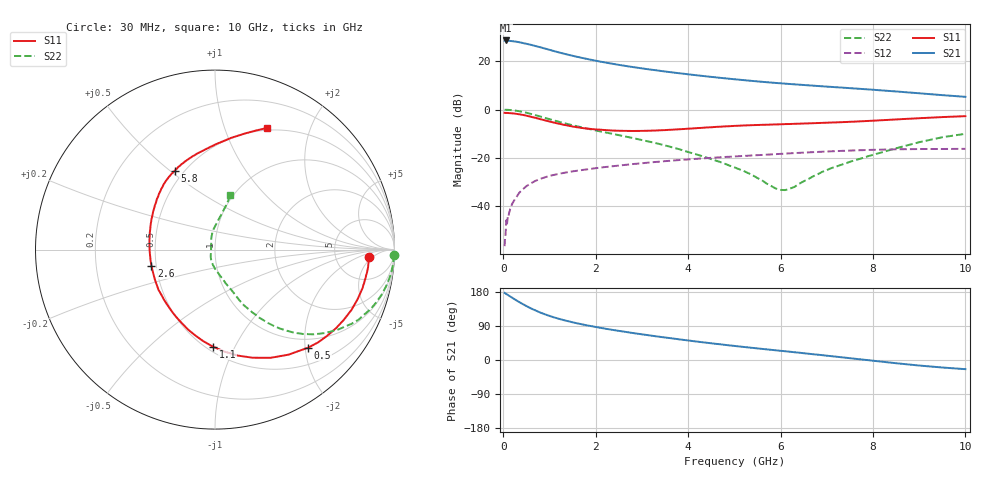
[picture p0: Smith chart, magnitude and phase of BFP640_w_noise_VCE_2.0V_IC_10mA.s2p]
! Infineon Technologies  Discrete & RF Semiconductors
! BFP640
! VCE =  2.0 V,  IC =  10 mA
! Common Emitter S-Parameters:  Apr 2013
# GHz  S  MA  R  50
!  f  S11  S21  S12  S22
! GHz  MAG  ANG  MAG  ANG  MAG  ANG  MAG  ANG
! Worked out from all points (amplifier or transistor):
!   99 points, 30 MHz to 10 GHz, reference 50 ohm
!   highest |S21| = 28.7 dB at 60 MHz (marker M1)
!   |S21| within 3 dB of that: start of sweep to 836.8 MHz
!   unconditionally stable (mu >= 1): 3.836 GHz to end of sweep
!   at 350 MHz: K = 0.15, MSG = 31.1 dB, |S12| = -34.3 dB
!   at 3.5 GHz: K = 0.97, MSG = 18.6 dB, |S12| = -21.3 dB
!   at 10 GHz: K = 1.10, MAG = 8.9 dB, |S12| = -16.2 dB
!   lowest NFmin = 0.64 dB at 450 MHz
!   S11 on the Smith chart (normalised r, x): 30 MHz: 12, -4; 500 MHz: 0.82, -2.07; 1.1 GHz: 0.54, -0.82; 2.6 GHz: 0.47, -0.10; 5.8 GHz: 0.45, +0.52; 10 GHz: 0.47, +1.40
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0.03  0.8611 -2.9  26.86 177.0  0.0015 83.9  0.9957 -1.7
0.06  0.8582 -5.7  27.12 174.6  0.0041 81.7  0.9961 -3.6
0.09  0.8564 -8.6  26.75 172.4  0.0051 83.7  0.9949 -5.4
0.12  0.8516 -11.7  26.84 170.0  0.0067 84.0  0.9902 -7.3
0.3  0.8171 -28.7  25.42 156.2  0.0163 77.0  0.9459 -18.0
0.4  0.7873 -37.8  24.38 149.0  0.0214 72.5  0.9078 -23.4
0.5  0.7538 -46.4  23.18 142.5  0.0261 68.1  0.866 -28.5
0.6  0.7145 -55.0  22.04 136.2  0.0301 64.8  0.818 -33.0
0.8  0.638 -70.8  19.64 125.3  0.0371 58.8  0.7253 -40.6
1  0.5707 -84.7  17.37 116.4  0.0428 54.0  0.6379 -46.5
1.1  0.5407 -91.2  16.35 112.4  0.0448 52.1  0.5983 -48.8
1.4  0.4697 -108.7  13.75 102.5  0.051 47.9  0.504 -54.2
1.7  0.42 -125.0  11.84 94.3  0.0564 44.9  0.4316 -57.8
2.1  0.3866 -144.4  9.903 85.0  0.0633 41.9  0.3553 -62.2
2.6  0.3652 -165.8  8.184 75.1  0.0715 38.6  0.2843 -65.6
3.4  0.3754 165.4  6.364 61.0  0.0844 33.4  0.1931 -72.8
4.2  0.4164 143.5  5.142 48.5  0.0967 27.7  0.1174 -86.4
5.1  0.4666 126.7  4.183 35.8  0.1091 21.6  0.0589 -111.8
5.8  0.4928 117.2  3.644 26.8  0.1188 16.8  0.0263 -147.9
6.7  0.5258 106.3  3.151 15.3  0.1324 9.8  0.0415 120.6
8.5  0.6293 81.7  2.387 -8.5  0.1516 -6.4  0.1592 84.5
10  0.7357 67.0  1.848 -24.2  0.1549 -17.3  0.3176 74.3
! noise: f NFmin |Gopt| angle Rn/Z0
0.45  0.64  0.26  10  0.04
0.9  0.66  0.25  17  0.05
1.5  0.67  0.22  29  0.06
1.9  0.7  0.18  48  0.07
2.4  0.74  0.16  59  0.07
3.5  0.87  0.13  71  0.09
5.5  1.09  0.21  -128  0.1
10  1.66  0.58  -60  0.4
